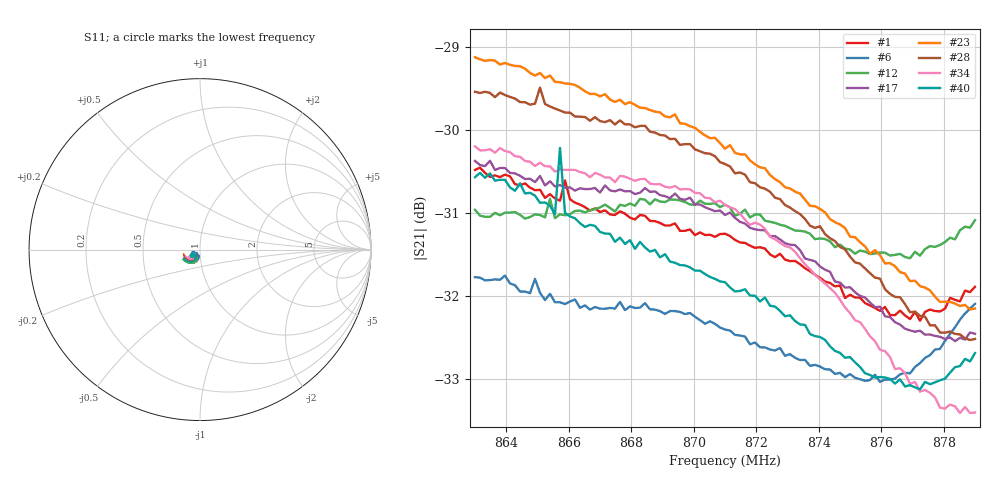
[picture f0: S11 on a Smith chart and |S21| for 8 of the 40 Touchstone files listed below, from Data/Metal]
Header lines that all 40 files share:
# HZ S RI R 50
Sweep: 863 MHz to 879 MHz
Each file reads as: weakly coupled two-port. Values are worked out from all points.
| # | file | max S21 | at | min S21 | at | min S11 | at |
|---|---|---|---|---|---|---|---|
| 1 | mo22s9.s2p | -30.45 dB | 863.16 MHz | -32.3 dB | 877.24 MHz | -29.7 dB | 865.88 MHz |
| 2 | mo22s11.s2p | -30.75 dB | 863 MHz | -32.3 dB | 877.08 MHz | -26.7 dB | 865.72 MHz |
| 3 | mo23s0.s2p | -31.53 dB | 863.16 MHz | -34.3 dB | 877.4 MHz | -30.2 dB | 867.8 MHz |
| 4 | mo23s1.s2p | -31.53 dB | 863 MHz | -33.9 dB | 877.24 MHz | -28.9 dB | 865.72 MHz |
| 5 | mo23s2.s2p | -32.00 dB | 864.92 MHz | -33.2 dB | 875.64 MHz | -31.9 dB | 865.88 MHz |
| 6 | mo23s3.s2p | -31.75 dB | 863.96 MHz | -33.0 dB | 875.96 MHz | -32.0 dB | 864.92 MHz |
| 7 | mo23s4.s2p | -29.83 dB | 863 MHz | -32.8 dB | 878.2 MHz | -25.3 dB | 867.8 MHz |
| 8 | mo23s5.s2p | -30.28 dB | 863.96 MHz | -32.5 dB | 877.88 MHz | -27.6 dB | 866.52 MHz |
| 9 | mo23s6.s2p | -30.09 dB | 863.48 MHz | -32.5 dB | 878.04 MHz | -25.9 dB | 867 MHz |
| 10 | mo23s8.s2p | -30.14 dB | 863.16 MHz | -33.5 dB | 877.88 MHz | -27.2 dB | 866.04 MHz |
| 11 | mo23s9.s2p | -30.39 dB | 863.64 MHz | -33.3 dB | 876.76 MHz | -26.7 dB | 867.16 MHz |
| 12 | mo23s10.s2p | -30.83 dB | 865.4 MHz | -31.5 dB | 876.92 MHz | -27.6 dB | 865.4 MHz |
| 13 | mo23s11.s2p | -30.34 dB | 864.28 MHz | -31.7 dB | 863.16 MHz | -28.9 dB | 864.44 MHz |
| 14 | mo23s12.s2p | -30.92 dB | 864.6 MHz | -32.7 dB | 876.92 MHz | -27.7 dB | 864.6 MHz |
| 15 | mo24s0.s2p | -31.53 dB | 863.16 MHz | -33.6 dB | 875.96 MHz | -31.0 dB | 866.04 MHz |
| 16 | mo24s1.s2p | -30.30 dB | 863 MHz | -31.7 dB | 876.44 MHz | -29.4 dB | 865.08 MHz |
| 17 | mo24s2.s2p | -30.37 dB | 863.48 MHz | -32.5 dB | 878.36 MHz | -26.1 dB | 866.68 MHz |
| 18 | mo24s3.s2p | -30.59 dB | 863.32 MHz | -32.5 dB | 877.88 MHz | -27.0 dB | 866.04 MHz |
| 19 | mo24s4.s2p | -30.34 dB | 863.16 MHz | -32.2 dB | 876.44 MHz | -28.7 dB | 865.56 MHz |
| 20 | mo24s5.s2p | -30.08 dB | 863 MHz | -32.5 dB | 877.88 MHz | -26.7 dB | 866.04 MHz |
| 21 | mo25s0.s2p | -29.65 dB | 863.32 MHz | -32.3 dB | 878.68 MHz | -24.1 dB | 867.16 MHz |
| 22 | mo25s1.s2p | -29.31 dB | 864.92 MHz | -32.5 dB | 878.84 MHz | -24.0 dB | 866.04 MHz |
| 23 | mo25s2.s2p | -29.12 dB | 863 MHz | -32.2 dB | 878.84 MHz | -23.0 dB | 867.8 MHz |
| 24 | mo25s4.s2p | -29.16 dB | 864.28 MHz | -31.7 dB | 878.84 MHz | -23.9 dB | 866.04 MHz |
| 25 | mo25s5.s2p | -29.05 dB | 863.96 MHz | -32.0 dB | 878.84 MHz | -23.9 dB | 866.04 MHz |
| 26 | mo25s6.s2p | -29.00 dB | 864.44 MHz | -31.6 dB | 879 MHz | -23.9 dB | 866.04 MHz |
| 27 | mo25s9.s2p | -29.17 dB | 863 MHz | -32.5 dB | 879 MHz | -24.7 dB | 866.68 MHz |
| 28 | mo25s10.s2p | -29.49 dB | 865.08 MHz | -32.5 dB | 878.84 MHz | -24.3 dB | 866.04 MHz |
| 29 | mo26s0.s2p | -29.44 dB | 863 MHz | -32.2 dB | 878.84 MHz | -25.6 dB | 866.04 MHz |
| 30 | mo26s2.s2p | -29.50 dB | 863.32 MHz | -32.4 dB | 878.52 MHz | -25.3 dB | 865.88 MHz |
| 31 | mo26s3.s2p | -29.69 dB | 863.16 MHz | -32.2 dB | 878.04 MHz | -25.2 dB | 866.04 MHz |
| 32 | mo26s4.s2p | -29.17 dB | 863.16 MHz | -32.2 dB | 878.84 MHz | -25.0 dB | 867.16 MHz |
| 33 | mo26s5.s2p | -30.75 dB | 863.16 MHz | -34.3 dB | 879 MHz | -26.2 dB | 867.8 MHz |
| 34 | mo26s6.s2p | -30.20 dB | 863 MHz | -33.4 dB | 878.84 MHz | -25.2 dB | 867.16 MHz |
| 35 | mo26s11.s2p | -29.79 dB | 863 MHz | -33.6 dB | 878.84 MHz | -25.8 dB | 867.8 MHz |
| 36 | mo27s0.s2p | -31.72 dB | 863.32 MHz | -34.4 dB | 877.24 MHz | -31.3 dB | 866.04 MHz |
| 37 | mo27s1.s2p | -30.25 dB | 863 MHz | -33.1 dB | 877.88 MHz | -26.8 dB | 867.48 MHz |
| 38 | mo27s4.s2p | -30.40 dB | 863 MHz | -35.0 dB | 879 MHz | -26.5 dB | 868.44 MHz |
| 39 | mo27s5.s2p | -30.35 dB | 863.16 MHz | -33.1 dB | 877.72 MHz | -29.7 dB | 867 MHz |
| 40 | mo27s6.s2p | -30.22 dB | 865.72 MHz | -33.1 dB | 877.24 MHz | -27.7 dB | 865.72 MHz |
